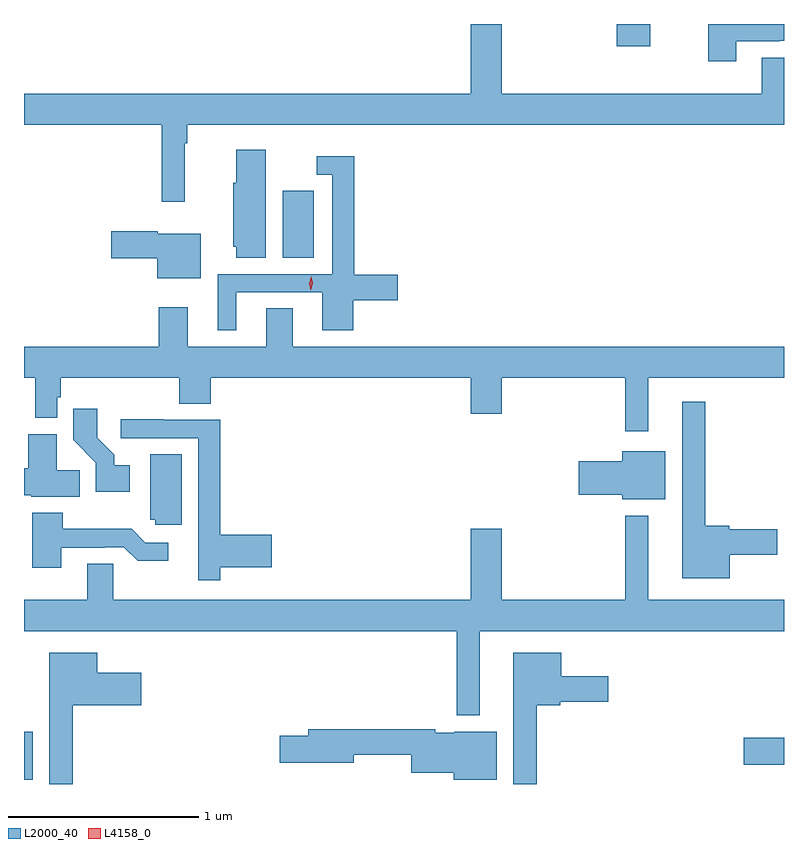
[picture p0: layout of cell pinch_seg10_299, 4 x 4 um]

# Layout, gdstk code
import gdstk
lib = gdstk.Library(unit=1e-6, precision=1e-09)
def R(c, l, rs):  # rectangles x0, y0, x1, y1
    for r in rs: c.add(gdstk.rectangle(r[:2], r[2:], *l))
def P(c, l, *ps):  # polygons
    for p in ps: c.add(gdstk.Polygon(p, *l))
L2000_40 = (2000, 40)
L4158_0 = (4158, 0)

pinch_seg10_299 = lib.new_cell('pinch_seg10_299')
R(pinch_seg10_299, L2000_40, [(402.417,1288.877,402.463,1289.131), (406.206,1288.957,406.417,1289.099), (403.778,1291.624,403.942,1291.978), (405.536,1292.739,405.714,1292.855)])
P(pinch_seg10_299, L2000_40, [(403.262,1292.228),(403.277,1292.228),(403.277,1292.324),(406.417,1292.324),(406.417,1292.678),(406.301,1292.678),(406.301,1292.488),(404.932,1292.488),(404.932,1292.855),(404.768,1292.855),(404.768,1292.488),(402.417,1292.488),(402.417,1292.324),(403.141,1292.324),(403.141,1291.92),(403.262,1291.92)],
  [(406.165,1292.763),(406.394,1292.763),(406.394,1292.766),(406.417,1292.766),(406.417,1292.855),(406.018,1292.855),(406.018,1292.658),(406.165,1292.658)],
  [(403.69,1292.194),(403.535,1292.194),(403.535,1292.019),(403.517,1292.019),(403.517,1291.683),(403.535,1291.683),(403.535,1291.624),(403.69,1291.624)],
  [(403.534,1291.443),(403.988,1291.443),(403.988,1291.242),(404.15,1291.242),(404.15,1291.4),(404.383,1291.4),(404.383,1291.535),(404.156,1291.535),(404.156,1292.158),(403.959,1292.158),(403.959,1292.061),(404.04,1292.061),(404.04,1291.539),(403.436,1291.539),(403.436,1291.242),(403.534,1291.242)],
  [(403.348,1291.75),(403.122,1291.75),(403.122,1291.763),(402.876,1291.763),(402.876,1291.621),(403.118,1291.621),(403.118,1291.517),(403.348,1291.517)],
  [(405.703,1290.992),(406.417,1290.992),(406.417,1291.156),(403.831,1291.156),(403.831,1291.358),(403.691,1291.358),(403.691,1291.156),(403.279,1291.156),(403.279,1291.363),(403.127,1291.363),(403.127,1291.156),(402.417,1291.156),(402.417,1290.992),(402.475,1290.992),(402.475,1290.782),(402.591,1290.782),(402.591,1290.891),(402.611,1290.891),(402.611,1290.992),(403.235,1290.992),(403.235,1290.856),(403.4,1290.856),(403.4,1290.992),(404.768,1290.992),(404.768,1290.804),(404.932,1290.804),(404.932,1290.992),(405.582,1290.992),(405.582,1290.711),(405.703,1290.711)],
  [(406.132,1290.062),(406.381,1290.062),(406.381,1290.197),(406.128,1290.197),(406.128,1290.215),(406.003,1290.215),(406.003,1290.868),(405.881,1290.868),(405.881,1289.939),(406.132,1289.939)],
  [(402.973,1290.532),(402.892,1290.532),(402.892,1290.587),(402.802,1290.677),(402.802,1290.829),(402.676,1290.829),(402.676,1290.666),(402.795,1290.547),(402.795,1290.392),(402.973,1290.392)],
  [(403.451,1289.996),(403.72,1289.996),(403.72,1290.167),(403.451,1290.167),(403.451,1290.771),(403.151,1290.771),(403.151,1290.774),(402.927,1290.774),(402.927,1290.675),(403.335,1290.675),(403.335,1290.15),(403.334,1290.15),(403.334,1289.928),(403.451,1289.928)],
  [(402.71,1290.506),(402.589,1290.506),(402.589,1290.697),(402.44,1290.697),(402.44,1290.516),(402.417,1290.516),(402.417,1290.374),(402.456,1290.374),(402.456,1290.368),(402.71,1290.368)],
  [(405.793,1290.607),(405.566,1290.607),(405.566,1290.555),(405.336,1290.555),(405.336,1290.377),(405.566,1290.377),(405.566,1290.353),(405.793,1290.353)],
  [(403.246,1290.59),(403.082,1290.59),(403.082,1290.246),(403.107,1290.246),(403.107,1290.219),(403.246,1290.219)],
  [(402.613,1290.099),(402.842,1290.099),(402.842,1290.102),(402.942,1290.102),(403.015,1290.029),(403.177,1290.029),(403.177,1290.126),(403.056,1290.126),(402.983,1290.199),(402.621,1290.199),(402.621,1290.283),(402.461,1290.283),(402.461,1289.994),(402.613,1289.994)],
  [(404.815,1289.66),(406.417,1289.66),(406.417,1289.824),(405.703,1289.824),(405.703,1290.268),(405.582,1290.268),(405.582,1289.824),(404.932,1289.824),(404.932,1290.199),(404.768,1290.199),(404.768,1289.824),(402.888,1289.824),(402.888,1290.014),(402.749,1290.014),(402.749,1289.824),(402.417,1289.824),(402.417,1289.66),(404.694,1289.66),(404.694,1289.216),(404.815,1289.216)],
  [(402.673,1289.27),(403.033,1289.27),(403.033,1289.44),(402.802,1289.44),(402.802,1289.545),(402.551,1289.545),(402.551,1288.855),(402.673,1288.855)],
  [(405.115,1289.27),(405.24,1289.27),(405.24,1289.288),(405.493,1289.288),(405.493,1289.422),(405.244,1289.422),(405.244,1289.545),(404.993,1289.545),(404.993,1288.855),(405.115,1288.855)],
  [(404.905,1289.131),(404.682,1289.131),(404.682,1289.125),(404.582,1289.125),(404.582,1289.144),(403.913,1289.144),(403.913,1289.108),(403.764,1289.108),(403.764,1288.966),(404.152,1288.966),(404.152,1289.008),(404.456,1289.008),(404.456,1288.913),(404.678,1288.913),(404.678,1288.877),(404.905,1288.877)])
P(pinch_seg10_299, L4158_0, [(403.925,1291.454),(403.925,1291.455),(403.917,1291.491),(403.928,1291.526),(403.928,1291.527),(403.928,1291.526),(403.937,1291.49),(403.925,1291.455)])

lib.write_gds('pinch_seg10_299.gds')
